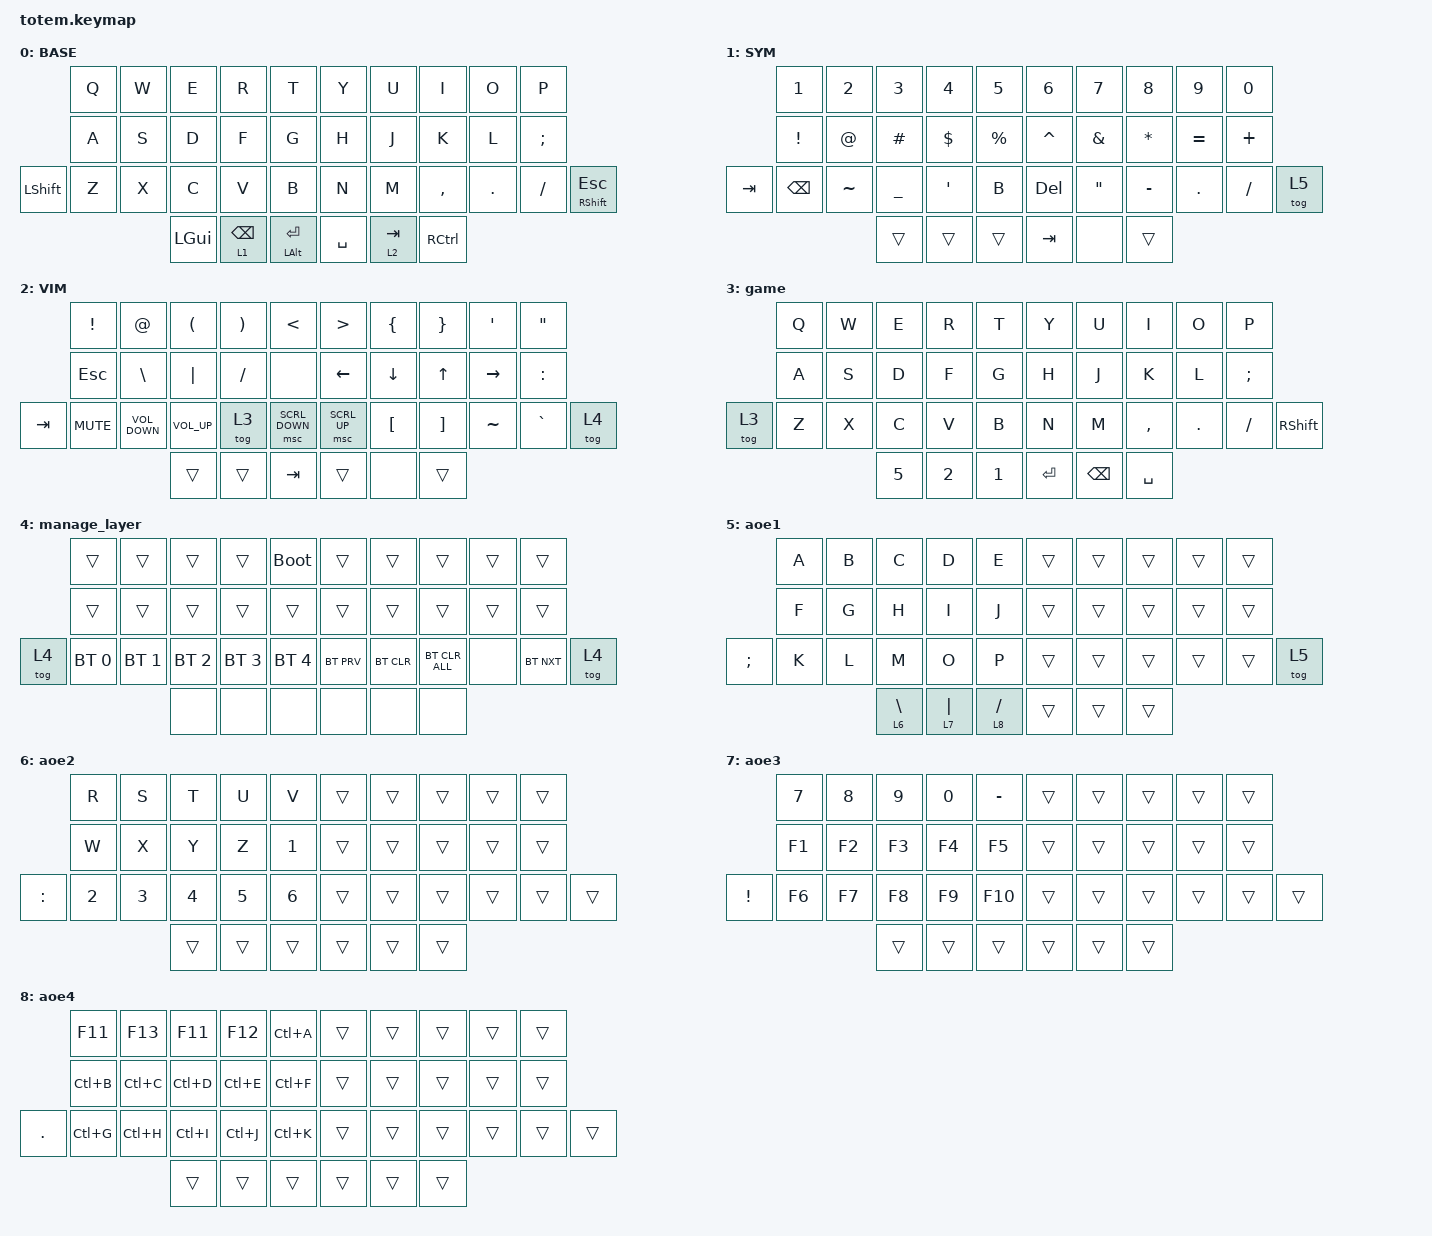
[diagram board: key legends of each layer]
//
//                                                        ▀▀▀▀▀     ▀▀▀▀▀          ▀▀█▀▀
//                                                        ▄▀▀▀▄  ▄  ▄▀▀▀▄  ▄  ▄▀▀▀▄  █  ▄▀▀▀▄
//                                                        █   █  █  █   █  █  █   █  █  █   █
//                                                         ▀▀▀   █   ▀▀▀   █   ▀▀▀   ▀   ▀▀▀
//                                                               █      ▄▄▄█▄▄▄    █   █  
//                                                               ▀      █  █  █     █▄█
//                                                             ▀▀▀▀▀    █  █  █      ▀
//                                                                      ▀  ▀  ▀
//
// ▄▄▄▄▄▄▄▄▄▄▄▄▄▄▄▄▄▄▄▄▄▄▄▄▄▄▄▄▄▄▄▄▄▄▄▄▄▄▄▄▄▄▄▄▄▄▄▄▄▄▄▄▄▄▄▄▄▄▄▄▄▄▄▄▄▄▄▄▄▄▄▄▄▄▄▄▄▄▄▄▄▄▄▄▄▄▄▄▄▄▄▄▄▄▄▄▄▄▄▄▄▄▄▄▄▄▄▄▄▄▄▄▄▄▄▄▄▄▄▄▄▄▄▄▄▄▄▄▄▄▄▄▄▄▄▄▄▄▄▄▄▄▄▄▄▄▄▄▄

#include <behaviors.dtsi>
#include <dt-bindings/zmk/bt.h>
#include <dt-bindings/zmk/keys.h>
#include <dt-bindings/zmk/pointing.h>

#define BASE 0
#define NAV  1
#define SYM  2
#define ADJ  3

&mt {
    quick-tap-ms = <100>;
    global-quick-tap;
    flavor = "tap-preferred";
    tapping-term-ms = <170>;
};

/ {
    combos {
        compatible = "zmk,combos";

        combo_esc {
            timeout-ms = <50>;
            key-positions = <0 1>;
            bindings = <&kp ESC>;
        };
    };

    macros {
        gif: gif {
            label = "giphy";
            compatible = "zmk,behavior-macro";
            #binding-cells = <0>;
            bindings =
                <&macro_press>,
                <&kp LSHFT>,
                <&macro_tap>,
                <&kp N2>,
                <&macro_release>,
                <&kp LSHFT>,
                <&macro_tap>,
                <&kp G &kp I &kp F>;
        };
    };

    keymap {
        compatible = "zmk,keymap";

        // ▄▄▄▄▄▄▄▄▄▄▄▄▄▄▄▄▄▄▄▄▄▄▄▄▄▄▄▄▄▄▄▄▄▄▄▄▄▄▄▄▄▄▄▄▄▄▄▄▄▄▄▄▄▄▄▄▄▄▄▄▄▄▄▄▄▄▄▄▄▄▄▄▄▄▄▄▄▄▄▄▄▄▄▄▄▄▄▄▄▄▄▄▄▄▄▄▄▄▄▄▄▄▄▄▄▄▄▄▄▄▄▄▄▄▄▄▄▄▄▄▄▄▄▄▄▄▄▄▄▄▄▄▄▄▄▄▄▄▄▄▄▄▄▄▄▄▄▄▄

        base_layer {
            // ┏━━━━━━━━━━━━━━━━━━━━━━━━━━━━━━━━━━━━━━━┓

            label = "BASE";

            // ┗━━━━━━━━━━━━━━━━━━━━━━━━━━━━━━━━━━━━━━━┛
            //             ┏━━━━━━━━━━━┳━━━━━━━━━━━┳━━━━━━━━━━━┳━━━━━━━━━━━┳━━━━━━━━━━━┓   ┏━━━━━━━━━━━┳━━━━━━━━━━━┳━━━━━━━━━━━┳━━━━━━━━━━━┳━━━━━━━━━━━┓
            //             ┃     Q     ┃     W     ┃     F     ┃     P     ┃     G     ┃   ┃     J     ┃     L     ┃     U     ┃     Y     ┃     ;     ┃
            //             ┣━━━━━━━━━━━╋━━━━━━━━━━━╋━━━━━━━━━━━╋━━━━━━━━━━━╋━━━━━━━━━━━┫   ┣━━━━━━━━━━━╋━━━━━━━━━━━╋━━━━━━━━━━━╋━━━━━━━━━━━╋━━━━━━━━━━━┫
            //             ┃     A     ┃     R     ┃     S     ┃     T     ┃     D     ┃   ┃     H     ┃     N     ┃     E     ┃     I     ┃     O     ┃
            // ┏━━━━━━━━━━━╋━━━━━━━━━━━╋━━━━━━━━━━━╋━━━━━━━━━━━╋━━━━━━━━━━━╋━━━━━━━━━━━┫   ┣━━━━━━━━━━━╋━━━━━━━━━━━╋━━━━━━━━━━━╋━━━━━━━━━━━╋━━━━━━━━━━━╋━━━━━━━━━━━┓
            // ┃           ┃     Z     ┃     X     ┃     C     ┃     V     ┃     B     ┃   ┃     K     ┃     M     ┃     ,     ┃     .     ┃     /     ┃           ┃
            // ┗━━━━━━━━━━━┻━━━━━━━━━━━┻━━━━━━━━━━━╋━━━━━━━━━━━╋━━━━━━━━━━━╋━━━━━━━━━━━┫   ┣━━━━━━━━━━━╋━━━━━━━━━━━╋━━━━━━━━━━━╋━━━━━━━━━━━┻━━━━━━━━━━━┻━━━━━━━━━━━┛
            //                                     ┃           ┃    TAB    ┃    SPC    ┃   ┃   ENTER   ┃   BSPC    ┃           ┃
            //                                     ┗━━━━━━━━━━━┻━━━━━━━━━━━┻━━━━━━━━━━━┛   ┗━━━━━━━━━━━┻━━━━━━━━━━━┻━━━━━━━━━━━┛

            bindings = <
            &kp Q  &kp W  &kp E         &kp R            &kp T             &kp Y      &kp U      &kp I      &kp O    &kp P
            &kp A  &kp S  &kp D         &kp F            &kp G             &kp H      &kp J      &kp K      &kp L    &kp SEMICOLON
&kp LSHIFT  &kp Z  &kp X  &kp C         &kp V            &kp B             &kp N      &kp M      &kp COMMA  &kp DOT  &kp SLASH      &mt RSHFT ESCAPE
                          &kp LEFT_GUI  &lt 1 BACKSPACE  &mt LALT ENTER    &kp SPACE  &lt 2 TAB  &kp RCTRL
            >;
        };

        // ▄▄▄▄▄▄▄▄▄▄▄▄▄▄▄▄▄▄▄▄▄▄▄▄▄▄▄▄▄▄▄▄▄▄▄▄▄▄▄▄▄▄▄▄▄▄▄▄▄▄▄▄▄▄▄▄▄▄▄▄▄▄▄▄▄▄▄▄▄▄▄▄▄▄▄▄▄▄▄▄▄▄▄▄▄▄▄▄▄▄▄▄▄▄▄▄▄▄▄▄▄▄▄▄▄▄▄▄▄▄▄▄▄▄▄▄▄▄▄▄▄▄▄▄▄▄▄▄▄▄▄▄▄▄▄▄▄▄▄▄▄▄▄▄▄▄▄▄▄

        sym_layer {
            // ┏━━━━━━━━━━━━━━━━━━━━━━━━━━━━━━━━━━━━━━━┓

            label = "SYM";

            // ┗━━━━━━━━━━━━━━━━━━━━━━━━━━━━━━━━━━━━━━━┛
            //             ┏━━━━━━━━━━━┳━━━━━━━━━━━┳━━━━━━━━━━━┳━━━━━━━━━━━┳━━━━━━━━━━━┓   ┏━━━━━━━━━━━┳━━━━━━━━━━━┳━━━━━━━━━━━┳━━━━━━━━━━━┳━━━━━━━━━━━┓
            //             ┃           ┃           ┃     UP    ┃           ┃     {     ┃   ┃     }     ┃     7     ┃     8     ┃     9     ┃     +     ┃
            //             ┣━━━━━━━━━━━╋━━━━━━━━━━━╋━━━━━━━━━━━╋━━━━━━━━━━━╋━━━━━━━━━━━┫   ┣━━━━━━━━━━━╋━━━━━━━━━━━╋━━━━━━━━━━━╋━━━━━━━━━━━╋━━━━━━━━━━━┫
            //             ┃   SHIFT   ┃   LEFT    ┃    DOWN   ┃   RIGHT   ┃     [     ┃   ┃     ]     ┃     4     ┃     5     ┃     6     ┃     -     ┃
            // ┏━━━━━━━━━━━╋━━━━━━━━━━━╋━━━━━━━━━━━╋━━━━━━━━━━━╋━━━━━━━━━━━╋━━━━━━━━━━━┫   ┣━━━━━━━━━━━╋━━━━━━━━━━━╋━━━━━━━━━━━╋━━━━━━━━━━━╋━━━━━━━━━━━╋━━━━━━━━━━━┓
            // ┃           ┃           ┃   P UP    ┃  C LOCK   ┃  P DOWN   ┃     (     ┃   ┃     )     ┃     1     ┃     2     ┃     3     ┃     *     ┃           ┃
            // ┗━━━━━━━━━━━┻━━━━━━━━━━━┻━━━━━━━━━━━╋━━━━━━━━━━━╋━━━━━━━━━━━╋━━━━━━━━━━━┫   ┣━━━━━━━━━━━╋━━━━━━━━━━━╋━━━━━━━━━━━╋━━━━━━━━━━━┻━━━━━━━━━━━┻━━━━━━━━━━━┛
            //                                     ┃           ┃    TAB    ┃    SPC    ┃   ┃    DEL    ┃     0     ┃           ┃
            //                                     ┗━━━━━━━━━━━┻━━━━━━━━━━━┻━━━━━━━━━━━┛   ┗━━━━━━━━━━━┻━━━━━━━━━━━┻━━━━━━━━━━━┛

            bindings = <
         &kp NUMBER_1     &kp NUMBER_2  &kp NUMBER_3    &kp NUMBER_4  &kp NUMBER_5    &kp NUMBER_6  &kp NUMBER_7       &kp NUMBER_8  &kp N9      &kp NUMBER_0
         &kp EXCLAMATION  &kp AT_SIGN   &kp HASH        &kp DOLLAR    &kp PERCENT     &kp CARET     &kp AMPERSAND      &kp ASTERISK  &kp EQUAL   &kp PLUS
&kp TAB  &kp BACKSPACE    &kp TILDE     &kp UNDERSCORE  &kp SQT       &kp B           &kp DEL       &kp DOUBLE_QUOTES  &kp MINUS     &kp PERIOD  &kp SLASH     &tog 5
                                        &trans          &trans        &trans          &kp TAB       &none              &trans
            >;
        };

        // ▄▄▄▄▄▄▄▄▄▄▄▄▄▄▄▄▄▄▄▄▄▄▄▄▄▄▄▄▄▄▄▄▄▄▄▄▄▄▄▄▄▄▄▄▄▄▄▄▄▄▄▄▄▄▄▄▄▄▄▄▄▄▄▄▄▄▄▄▄▄▄▄▄▄▄▄▄▄▄▄▄▄▄▄▄▄▄▄▄▄▄▄▄▄▄▄▄▄▄▄▄▄▄▄▄▄▄▄▄▄▄▄▄▄▄▄▄▄▄▄▄▄▄▄▄▄▄▄▄▄▄▄▄▄▄▄▄▄▄▄▄▄▄▄▄▄▄▄▄

        vim_layer {
            // ┏━━━━━━━━━━━━━━━━━━━━━━━━━━━━━━━━━━━━━━━┓

            label = "VIM";

            // ┗━━━━━━━━━━━━━━━━━━━━━━━━━━━━━━━━━━━━━━━┛
            //             ┏━━━━━━━━━━━┳━━━━━━━━━━━┳━━━━━━━━━━━┳━━━━━━━━━━━┳━━━━━━━━━━━┓   ┏━━━━━━━━━━━┳━━━━━━━━━━━┳━━━━━━━━━━━┳━━━━━━━━━━━┳━━━━━━━━━━━┓
            //             ┃     !     ┃     @     ┃     #     ┃     $     ┃     %     ┃   ┃     ˆ     ┃     &     ┃     Ü     ┃     '     ┃     "     ┃
            //             ┣━━━━━━━━━━━╋━━━━━━━━━━━╋━━━━━━━━━━━╋━━━━━━━━━━━╋━━━━━━━━━━━┫   ┣━━━━━━━━━━━╋━━━━━━━━━━━╋━━━━━━━━━━━╋━━━━━━━━━━━╋━━━━━━━━━━━┫
            //             ┃     Ä     ┃           ┃    SZ     ┃           ┃           ┃   ┃   MUTE    ┃   YEN     ┃   EURO    ┃  POUND    ┃     Ö     ┃
            // ┏━━━━━━━━━━━╋━━━━━━━━━━━╋━━━━━━━━━━━╋━━━━━━━━━━━╋━━━━━━━━━━━╋━━━━━━━━━━━┫   ┣━━━━━━━━━━━╋━━━━━━━━━━━╋━━━━━━━━━━━╋━━━━━━━━━━━╋━━━━━━━━━━━╋━━━━━━━━━━━┓
            // ┃           ┃  EMAIL1   ┃  EMAIL2   ┃           ┃           ┃           ┃   ┃   VOL-    ┃   VOL+    ┃   LAST    ┃   NEXT    ┃     \     ┃           ┃
            // ┗━━━━━━━━━━━┻━━━━━━━━━━━┻━━━━━━━━━━━╋━━━━━━━━━━━╋━━━━━━━━━━━╋━━━━━━━━━━━┫   ┣━━━━━━━━━━━╋━━━━━━━━━━━╋━━━━━━━━━━━╋━━━━━━━━━━━┻━━━━━━━━━━━┻━━━━━━━━━━━┛
            //                                     ┃           ┃    GIF    ┃    ADJ    ┃   ┃           ┃           ┃           ┃
            //                                     ┗━━━━━━━━━━━┻━━━━━━━━━━━┻━━━━━━━━━━━┛   ┗━━━━━━━━━━━┻━━━━━━━━━━━┻━━━━━━━━━━━┛

            bindings = <
         &kp EXCL    &kp AT             &kp LEFT_PARENTHESIS  &kp RIGHT_PARENTHESIS  &kp LESS_THAN     &kp GREATER_THAN  &kp LEFT_BRACE    &kp RIGHT_BRACE    &kp SQT    &kp DQT
         &kp ESC     &kp BACKSLASH      &kp PIPE              &kp SLASH              &none             &kp LEFT          &kp DOWN          &kp UP_ARROW       &kp RIGHT  &kp COLON
&kp TAB  &kp C_MUTE  &kp C_VOLUME_DOWN  &kp C_VOLUME_UP       &tog 3                 &msc SCRL_DOWN    &msc SCRL_UP      &kp LEFT_BRACKET  &kp RIGHT_BRACKET  &kp TILDE  &kp GRAVE  &tog 4
                                        &trans                &trans                 &kp TAB           &trans            &none             &trans
            >;
        };

        // ▄▄▄▄▄▄▄▄▄▄▄▄▄▄▄▄▄▄▄▄▄▄▄▄▄▄▄▄▄▄▄▄▄▄▄▄▄▄▄▄▄▄▄▄▄▄▄▄▄▄▄▄▄▄▄▄▄▄▄▄▄▄▄▄▄▄▄▄▄▄▄▄▄▄▄▄▄▄▄▄▄▄▄▄▄▄▄▄▄▄▄▄▄▄▄▄▄▄▄▄▄▄▄▄▄▄▄▄▄▄▄▄▄▄▄▄▄▄▄▄▄▄▄▄▄▄▄▄▄▄▄▄▄▄▄▄▄▄▄▄▄▄▄▄▄▄▄▄▄

        game_layer {
            label = "game";
            bindings = <
        &kp Q  &kp W  &kp E   &kp R         &kp T           &kp Y      &kp U          &kp I      &kp O    &kp P
        &kp A  &kp S  &kp D   &kp F         &kp G           &kp H      &kp J          &kp K      &kp L    &kp SEMICOLON
&tog 3  &kp Z  &kp X  &kp C   &kp V         &kp B           &kp N      &kp M          &kp COMMA  &kp DOT  &kp SLASH      &kp RIGHT_SHIFT
                      &kp N5  &kp NUMBER_2  &kp NUMBER_1    &kp ENTER  &kp BACKSPACE  &kp SPACE
            >;
        };

        manage_layer {
            bindings = <
        &trans        &trans        &trans        &trans        &bootloader     &trans      &trans      &trans          &trans  &trans
        &trans        &trans        &trans        &trans        &trans          &trans      &trans      &trans          &trans  &trans
&tog 4  &bt BT_SEL 0  &bt BT_SEL 1  &bt BT_SEL 2  &bt BT_SEL 3  &bt BT_SEL 4    &bt BT_PRV  &bt BT_CLR  &bt BT_CLR_ALL  &none   &bt BT_NXT  &tog 4
                                    &none         &none         &none           &none       &none       &none
            >;
        };

        aoe1 {
            bindings = <
               &kp A  &kp B  &kp C            &kp D       &kp E          &trans  &trans  &trans  &trans  &trans
               &kp F  &kp G  &kp H            &kp I       &kp J          &trans  &trans  &trans  &trans  &trans
&kp SEMICOLON  &kp K  &kp L  &kp M            &kp O       &kp P          &trans  &trans  &trans  &trans  &trans  &tog 5
                             &lt 6 BACKSLASH  &lt 7 PIPE  &lt 8 SLASH    &trans  &trans  &trans
            >;
        };

        aoe2 {
            bindings = <
           &kp R         &kp S         &kp T         &kp U         &kp V           &trans  &trans  &trans  &trans  &trans
           &kp W         &kp X         &kp Y         &kp Z         &kp NUMBER_1    &trans  &trans  &trans  &trans  &trans
&kp COLON  &kp NUMBER_2  &kp NUMBER_3  &kp NUMBER_4  &kp NUMBER_5  &kp NUMBER_6    &trans  &trans  &trans  &trans  &trans  &trans
                                       &trans        &trans        &trans          &trans  &trans  &trans
            >;
        };

        aoe3 {
            bindings = <
                 &kp NUMBER_7  &kp NUMBER_8  &kp NUMBER_9  &kp NUMBER_0  &kp MINUS    &trans  &trans  &trans  &trans  &trans
                 &kp F1        &kp F2        &kp F3        &kp F4        &kp F5       &trans  &trans  &trans  &trans  &trans
&kp EXCLAMATION  &kp F6        &kp F7        &kp F8        &kp F9        &kp F10      &trans  &trans  &trans  &trans  &trans  &trans
                                             &trans        &trans        &trans       &trans  &trans  &trans
            >;
        };

        aoe4 {
            bindings = <
            &kp F11    &kp F13    &kp F11    &kp F12    &kp LC(A)    &trans  &trans  &trans  &trans  &trans
            &kp LC(B)  &kp LC(C)  &kp LC(D)  &kp LC(E)  &kp LC(F)    &trans  &trans  &trans  &trans  &trans
&kp PERIOD  &kp LC(G)  &kp LC(H)  &kp LC(I)  &kp LC(J)  &kp LC(K)    &trans  &trans  &trans  &trans  &trans  &trans
                                  &trans     &trans     &trans       &trans  &trans  &trans
            >;
        };
    };
};
